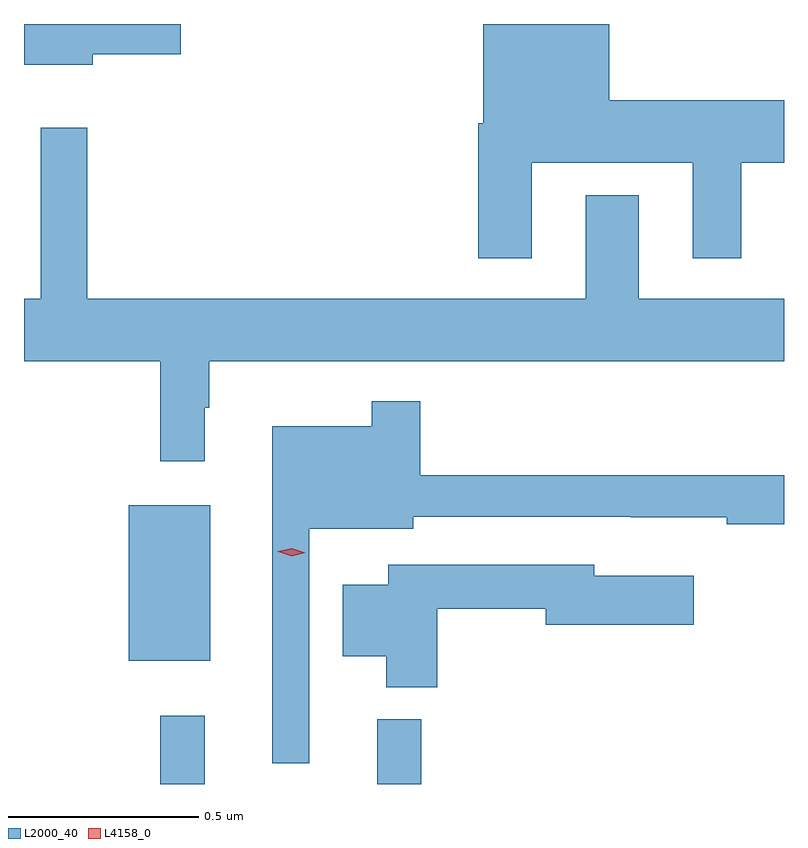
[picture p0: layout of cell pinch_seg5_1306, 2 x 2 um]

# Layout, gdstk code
import gdstk
lib = gdstk.Library(unit=1e-6, precision=1e-09)
def R(c, l, rs):  # rectangles x0, y0, x1, y1
    for r in rs: c.add(gdstk.rectangle(r[:2], r[2:], *l))
def P(c, l, *ps):  # polygons
    for p in ps: c.add(gdstk.Polygon(p, *l))
L2000_40 = (2000, 40)
L4158_0 = (4158, 0)

pinch_seg5_1306 = lib.new_cell('pinch_seg5_1306')
R(pinch_seg5_1306, L2000_40, [(481.567,843.659,481.685,843.838), (482.138,843.659,482.255,843.829), (481.484,843.983,481.699,844.393)])
P(pinch_seg5_1306, L2000_40, [(482.545,845.294),(482.969,845.294),(482.969,845.043),(483.097,845.043),(483.097,845.294),(483.209,845.294),(483.209,845.458),(482.749,845.458),(482.749,845.659),(482.417,845.659),(482.417,845.398),(482.405,845.398),(482.405,845.043),(482.545,845.043)],
  [(481.39,845.579),(481.621,845.579),(481.621,845.659),(481.209,845.659),(481.209,845.552),(481.39,845.552)],
  [(481.684,844.649),(481.696,844.649),(481.696,844.772),(483.209,844.772),(483.209,844.936),(482.827,844.936),(482.827,845.209),(482.687,845.209),(482.687,844.936),(481.375,844.936),(481.375,845.386),(481.253,845.386),(481.253,844.936),(481.209,844.936),(481.209,844.772),(481.567,844.772),(481.567,844.509),(481.684,844.509)],
  [(481.959,844.331),(482.233,844.331),(482.233,844.362),(482.806,844.362),(482.806,844.361),(483.058,844.361),(483.058,844.342),(483.209,844.342),(483.209,844.471),(482.252,844.471),(482.252,844.666),(482.124,844.666),(482.124,844.6),(481.862,844.6),(481.862,843.714),(481.959,843.714)],
  [(482.297,844.12),(482.582,844.12),(482.582,844.078),(482.971,844.078),(482.971,844.207),(482.71,844.207),(482.71,844.236),(482.168,844.236),(482.168,844.183),(482.048,844.183),(482.048,843.995),(482.162,843.995),(482.162,843.914),(482.297,843.914)])
P(pinch_seg5_1306, L4158_0, [(481.913,844.259),(481.878,844.27),(481.877,844.27),(481.878,844.271),(481.913,844.279),(481.949,844.268),(481.949,844.268),(481.949,844.268)])

lib.write_gds('pinch_seg5_1306.gds')
